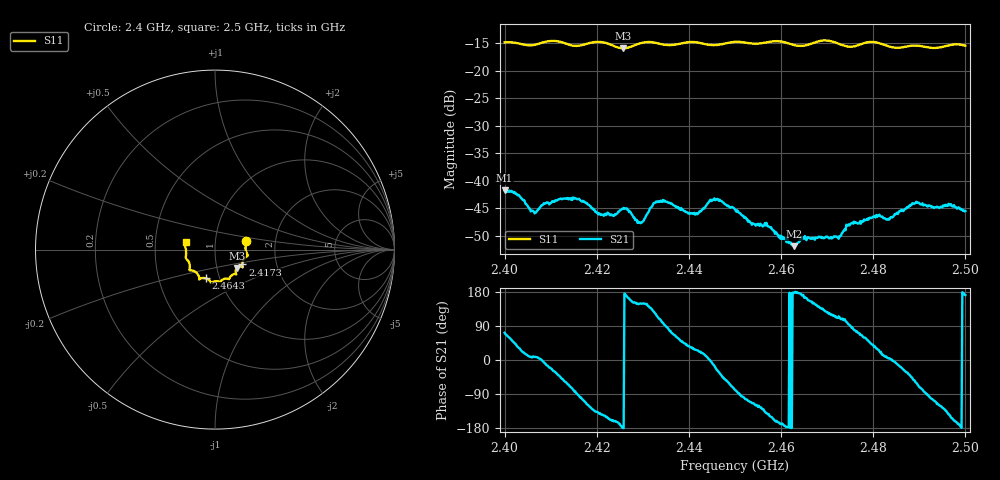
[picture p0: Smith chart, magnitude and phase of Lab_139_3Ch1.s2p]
# Hz S RI R 50
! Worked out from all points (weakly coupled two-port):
!   601 points, 2.4 GHz to 2.5 GHz, reference 50 ohm
!   highest |S21| = -41.78 dB at 2.4 GHz (marker M1); lowest = -51.9 dB at 2.4628 GHz (marker M2)
!   lowest |S11| = -15.9 dB at 2.4257 GHz (marker M3), VSWR 1.38, Z = 62.4 - j13.1 ohm
!   |S11| at or under -10 dB: start of sweep to end of sweep
!   S12 and S22 are empty: the file has one direction only
!   S11 on the Smith chart (normalised r, x): 2.4 GHz: 1.41, +0.14; 2.4173 GHz: 1.34, -0.23; 2.4643 GHz: 0.86, -0.28; 2.5 GHz: 0.72, +0.06
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2.4e9  0.1741 0.0491  0.00252 0.00775  0 0  0 0
2.402833e9  0.1742 0.0356  0.00604 0.0042  0 0  0 0
2.406333e9  0.1712 -0.00328  0.00518 0.000764  0 0  0 0
2.412167e9  0.1786 -0.0368  0.00477 -0.00496  0 0  0 0
2.416667e9  0.1529 -0.075  -0.00122 -0.00635  0 0  0 0
2.417333e9  0.1522 -0.0825  -0.00212 -0.00607  0 0  0 0
2.421167e9  0.1542 -0.0961  -0.00396 -0.00289  0 0  0 0
2.425667e9  0.1223 -0.1026  -0.00558 -9.48e-05  0 0  0 0
2.429667e9  0.1169 -0.135  -0.00356 0.00216  0 0  0 0
2.433333e9  0.1125 -0.1364  -0.00237 0.00592  0 0  0 0
2.440333e9  0.0793 -0.1642  0.00422 0.00282  0 0  0 0
2.445833e9  0.048 -0.1642  0.00628 -0.0026  0 0  0 0
2.45e9  0.0294 -0.1805  0.00104 -0.00537  0 0  0 0
2.462833e9  -0.0351 -0.1674  -0.00253 0.000133  0 0  0 0
2.464333e9  -0.0501 -0.1602  -0.00294 0.0003  0 0  0 0
2.466667e9  -0.0762 -0.1596  -0.00266 0.0013  0 0  0 0
2.4725e9  -0.0891 -0.1515  -0.00126 0.00268  0 0  0 0
2.474667e9  -0.1032 -0.1292  -0.000258 0.00399  0 0  0 0
2.480167e9  -0.1427 -0.1131  0.00387 0.00266  0 0  0 0
2.483333e9  -0.1404 -0.0896  0.00449 0.000413  0 0  0 0
2.4895e9  -0.163 -0.044  0.0029 -0.00557  0 0  0 0
2.5e9  -0.1636 0.0416  -0.00522 0.000827  0 0  0 0
